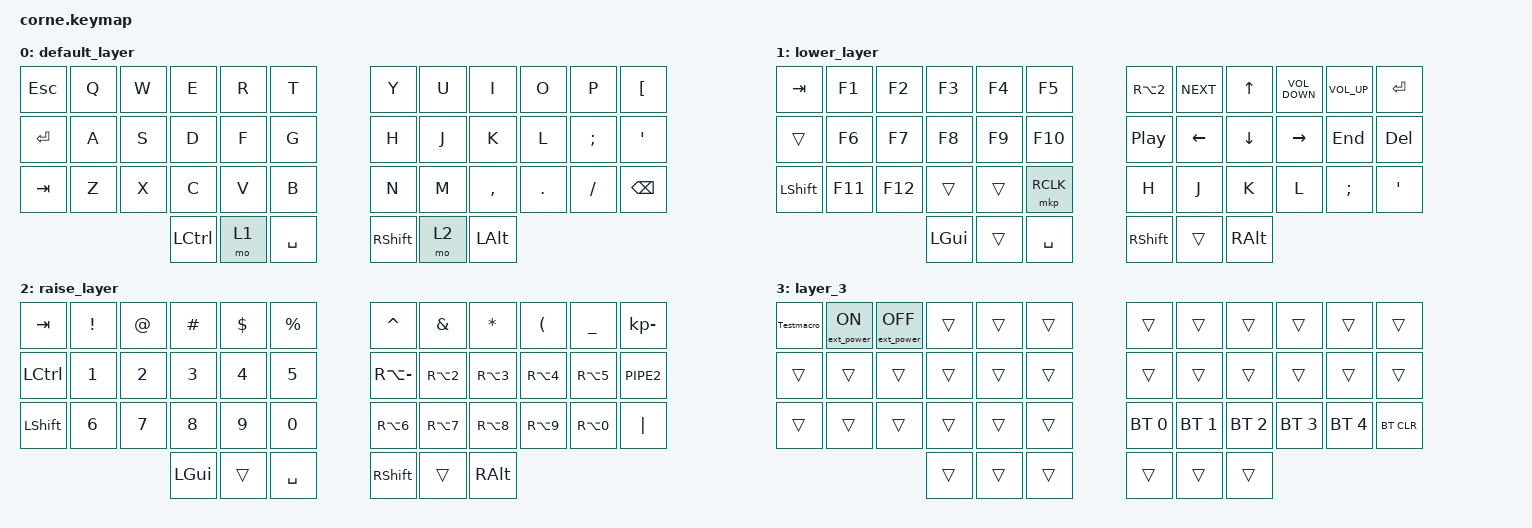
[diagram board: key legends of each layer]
/*
 * Copyright (c) 2020 The ZMK Contributors
 *
 * SPDX-License-Identifier: MIT
 */

#include <behaviors.dtsi>
#include <dt-bindings/zmk/bt.h>
#include <dt-bindings/zmk/ext_power.h>
#include <dt-bindings/zmk/keys.h>
#include <dt-bindings/zmk/mouse.h>

/ {
    macros {
        Testmacro: Testmacro {
            compatible = "zmk,behavior-macro";
            #binding-cells = <0>;
            bindings = <&kp LS(T) &kp H &kp I &kp S &kp SPACE &kp I &kp S &kp SPACE &kp T &kp E &kp S &kp T &kp I &kp N &kp G &kp SPACE &kp O &kp F &kp SPACE &kp M &kp A &kp C &kp R &kp O &kp SPACE &kp F &kp U &kp N &kp C &kp T &kp I &kp O &kp N &kp DOT &kp DOT &kp DOT>;
        };
    };

    keymap {
        compatible = "zmk,keymap";

        default_layer {
            // -----------------------------------------------------------------------------------------
            // |  TAB |  Q  |  W  |  E  |  R  |  T  |   |  Y  |  U   |  I  |  O  |  P  | BKSP |
            // | CTRL |  A  |  S  |  D  |  F  |  G  |   |  H  |  J   |  K  |  L  |  ;  |  '   |
            // | SHFT |  Z  |  X  |  C  |  V  |  B  |   |  N  |  M   |  ,  |  .  |  /  | ESC  |
            //                    | GUI | LWR | SPC |   | ENT | RSE  | ALT |

            bindings = <
&kp ESCAPE  &kp Q  &kp W  &kp E      &kp R  &kp T        &kp Y            &kp U  &kp I         &kp O    &kp P     &kp LEFT_BRACKET
&kp RETURN  &kp A  &kp S  &kp D      &kp F  &kp G        &kp H            &kp J  &kp K         &kp L    &kp SEMI  &kp SQT
&kp TAB     &kp Z  &kp X  &kp C      &kp V  &kp B        &kp N            &kp M  &kp COMMA     &kp DOT  &kp FSLH  &kp BACKSPACE
                          &kp LCTRL  &mo 1  &kp SPACE    &kp RIGHT_SHIFT  &mo 2  &kp LEFT_ALT
            >;
        };

        lower_layer {
            // -----------------------------------------------------------------------------------------
            // |  TAB |  1  |  2  |  3  |  4  |  5  |   |  6  |  7  |  8  |  9  |  0  | BKSP |
            // | BTCLR| BT1 | BT2 | BT3 | BT4 | BT5 |   | LFT | DWN |  UP | RGT |     |      |
            // | SHFT |     |     |     |     |     |   |     |     |     |     |     |      |
            //                    | GUI |     | SPC |   | ENT |     | ALT |

            bindings = <
&kp TAB    &kp F1   &kp F2   &kp F3    &kp F4  &kp F5       &kp RA(NUMBER_2)  &kp C_NEXT      &kp UP_ARROW    &kp C_VOLUME_DOWN  &kp C_VOLUME_UP  &kp ENTER
&trans     &kp F6   &kp F7   &kp F8    &kp F9  &kp F10      &kp C_PLAY_PAUSE  &kp LEFT_ARROW  &kp DOWN_ARROW  &kp RIGHT          &kp END          &kp DELETE
&kp LSHFT  &kp F11  &kp F12  &trans    &trans  &mkp RCLK    &kp H             &kp J           &kp K           &kp L              &kp SEMICOLON    &kp SQT
                             &kp LGUI  &trans  &kp SPACE    &kp RIGHT_SHIFT   &trans          &kp RALT
            >;
        };

        raise_layer {
            // -----------------------------------------------------------------------------------------
            // |  TAB |  !  |  @  |  #  |  $  |  %  |   |  ^  |  &  |  *  |  (  |  )  | BKSP |
            // | CTRL |     |     |     |     |     |   |  -  |  =  |  [  |  ]  |  \  |  `   |
            // | SHFT |     |     |     |     |     |   |  _  |  +  |  {  |  }  | "|" |  ~   |
            //                    | GUI |     | SPC |   | ENT |     | ALT |

            bindings = <
&kp TAB    &kp EXCL      &kp AT        &kp HASH      &kp DLLR      &kp PRCNT    &kp CARET         &kp AMPS          &kp ASTRK         &kp LPAR          &kp UNDERSCORE  &kp KP_SUBTRACT
&kp LCTRL  &kp NUMBER_1  &kp NUMBER_2  &kp NUMBER_3  &kp NUMBER_4  &kp N5       &kp RA(MINUS)     &kp RA(NUMBER_2)  &kp RA(NUMBER_3)  &kp RA(NUMBER_4)  &kp RA(N5)      &kp PIPE2
&kp LSHFT  &kp NUMBER_6  &kp N7        &kp N8        &kp N9        &kp N0       &kp RA(NUMBER_6)  &kp RA(N7)        &kp RA(N8)        &kp RA(N9)        &kp RA(N0)      &kp PIPE
                                       &kp LGUI      &trans        &kp SPACE    &kp RIGHT_SHIFT   &trans            &kp RALT
            >;
        };

        layer_3 {
            bindings = <
&Testmacro  &ext_power EP_ON  &ext_power EP_OFF  &trans  &trans  &trans    &trans        &trans        &trans        &trans        &trans        &trans
&trans      &trans            &trans             &trans  &trans  &trans    &trans        &trans        &trans        &trans        &trans        &trans
&trans      &trans            &trans             &trans  &trans  &trans    &bt BT_SEL 0  &bt BT_SEL 1  &bt BT_SEL 2  &bt BT_SEL 3  &bt BT_SEL 4  &bt BT_CLR
                                                 &trans  &trans  &trans    &trans        &trans        &trans
            >;
        };
    };

    conditional_layers {
        compatible = "zmk,conditional-layers";

        trilayer {
            if-layers = <1 2>;
            then-layer = <3>;
        };
    };
};

&nice_view_spi { cs-gpios = <&gpio0 8 GPIO_ACTIVE_HIGH>; };
